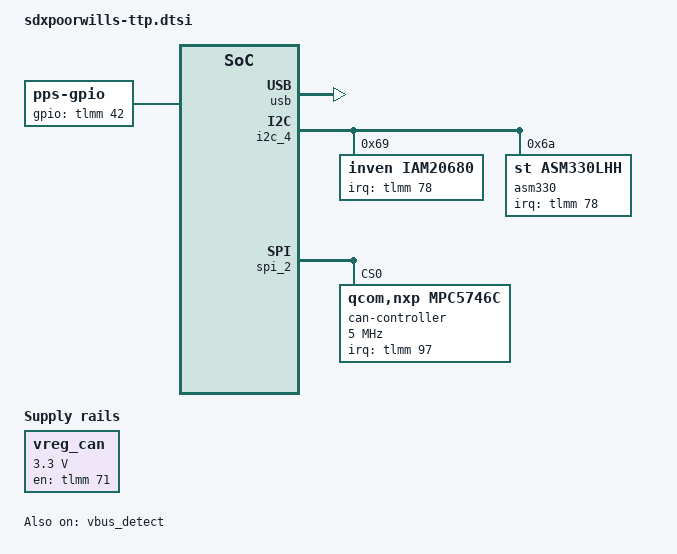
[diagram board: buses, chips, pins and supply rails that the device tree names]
/* Copyright (c) 2018-2019, The Linux Foundation. All rights reserved.
 *
 * This program is free software; you can redistribute it and/or modify
 * it under the terms of the GNU General Public License version 2 and
 * only version 2 as published by the Free Software Foundation.
 *
 * This program is distributed in the hope that it will be useful,
 * but WITHOUT ANY WARRANTY; without even the implied warranty of
 * MERCHANTABILITY or FITNESS FOR A PARTICULAR PURPOSE.  See the
 * GNU General Public License for more details.
 */

#include "sdxpoorwills-mtp.dtsi"

&vbus_detect {
	status = "okay";
};

&usb {
	status = "okay";
	qcom,connector-type-uAB;
	extcon = <0>, <0>, <0>, <&vbus_detect>;
};

&soc {
	pps {
		compatible = "pps-gpio";
		pinctrl-names = "default";
		pinctrl-0 = <&pinctrl_pps>;
		gpios = <&tlmm 42 GPIO_ACTIVE_HIGH>;
		status = "okay";
	};

	vreg_can: vreg_can {
		compatible = "regulator-fixed";
		regulator-name = "vreg_can";
		regulator-min-microvolt = <3300000>;
		regulator-max-microvolt = <3300000>;
		regulator-always-on;
		enable-active-high;
		gpio = <&tlmm 71 GPIO_ACTIVE_HIGH>;
	};
};

&i2c_4 {
	status = "okay";

	iam20680@69 {
	       compatible = "inven,iam20680";
	       reg = <0x69>;
	       pinctrl-names = "default";
	       pinctrl-0 = <&sensor_int1_default>;
	       interrupt-parent = <&tlmm>;
	       interrupts = <78 IRQ_TYPE_EDGE_RISING>;
	       axis_map_x = <1>;
	       axis_map_y = <0>;
	       axis_map_z = <2>;
	       negate_x = <1>;
	       negate_y = <0>;
	       negate_z = <0>;
	       inven,secondary_type = "none";
	       inven,aux_type = "none";
	       inven,read_only_slave_type = "none";
	};

	asm330@6a {
	       compatible = "st,asm330lhh";
	       reg = <0x6a>;
	       pinctrl-names = "default";
	       pinctrl-0 = <&sensor_int1_default>;
	       interrupt-parent = <&tlmm>;
	       interrupts = <78 IRQ_TYPE_EDGE_RISING>;
	       st,drdy-int-pin= <2>;
	};
};

&spi_2 {
	status = "okay";

	can-controller@0 {
		compatible = "qcom,nxp,mpc5746c";
		reg = <0>;
		interrupt-parent = <&tlmm>;
		interrupts = <97 0>;
		qcom,reset-delay-msec = <200>;
		spi-max-frequency = <5000000>;
		qcom,clk-freq-mhz = <40000000>;
		qcom,max-can-channels = <1>;
		qcom,bits-per-word = <8>;
		qcom,support-can-fd;
	};
};

&tlmm {
	/* Set these up as hogs */
	pinctrl-names = "default";
	pinctrl-0 = <&pmx_can_reset>;
};

&emac_hw {
	early-ethernet-en;
};
